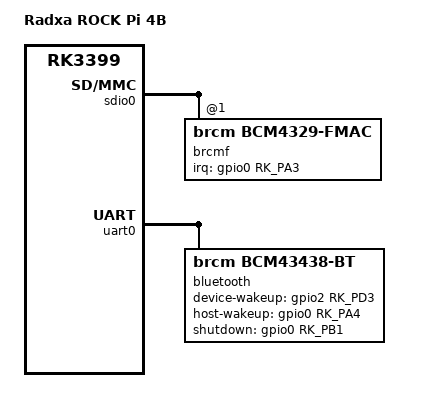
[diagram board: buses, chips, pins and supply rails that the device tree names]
FASTVC-BENCH-CORPUS:linux-main-100k-v1-e0bd41dc-8e12-4f1b-978d-a3645ae59da0
/* bench 13157.2.0 bd5bdc4f7340 */
/* bench 13157.2.1 a43cb203775c */
/* bench 13157.2.2 1ae21f81685a */
/* bench 13157.2.3 eec70d490e5c */
/* bench 13157.2.4 0947c3458c78 */
// SPDX-License-Identifier: (GPL-2.0+ OR MIT)
/*
 * Copyright (c) 2019 Akash Gajjar <Akash_Gajjar@mentor.com>
 * Copyright (c) 2019 Pragnesh Patel <Pragnesh_Patel@mentor.com>
 */

/dts-v1/;
#include "rk3399-rock-pi-4.dtsi"

/ {
	model = "Radxa ROCK Pi 4B";
	compatible = "radxa,rockpi4b", "radxa,rockpi4", "rockchip,rk3399";
};

&sdio0 {
	status = "okay";

	brcmf: wifi@1 {
		compatible = "brcm,bcm4329-fmac";
		reg = <1>;
		interrupt-parent = <&gpio0>;
		interrupts = <RK_PA3 GPIO_ACTIVE_HIGH>;
		interrupt-names = "host-wake";
		pinctrl-names = "default";
		pinctrl-0 = <&wifi_host_wake_l>;
	};
};

&uart0 {
	status = "okay";

	bluetooth {
		compatible = "brcm,bcm43438-bt";
/* bench 20407.0.0 30872248a940 */
/* bench 20407.0.1 22e5f2b4e46a */
/* bench 20407.0.2 c1bf71a3c229 */
/* bench 20407.0.3 7cf09e33bffe */
/* bench 20407.0.4 8d3e5b3a01f5 */
/* bench 20407.0.5 64e9e4a4b3b6 */
/* bench 20407.0.6 eb5a32db72dc */
/* bench 20407.0.7 0de5dd02d64a */
/* bench 20407.0.8 a356ca885694 */
/* bench 20407.0.9 0263c5bbd18b */
/* bench 20407.0.10 1b28414b5efa */
/* bench 20407.0.11 9d71b694b56c */
		clocks = <&rk808 1>;
		clock-names = "ext_clock";
		device-wakeup-gpios = <&gpio2 RK_PD3 GPIO_ACTIVE_HIGH>;
		host-wakeup-gpios = <&gpio0 RK_PA4 GPIO_ACTIVE_HIGH>;
		shutdown-gpios = <&gpio0 RK_PB1 GPIO_ACTIVE_HIGH>;
		pinctrl-names = "default";
		pinctrl-0 = <&bt_host_wake_l &bt_wake_l &bt_enable_h>;
	};
};
